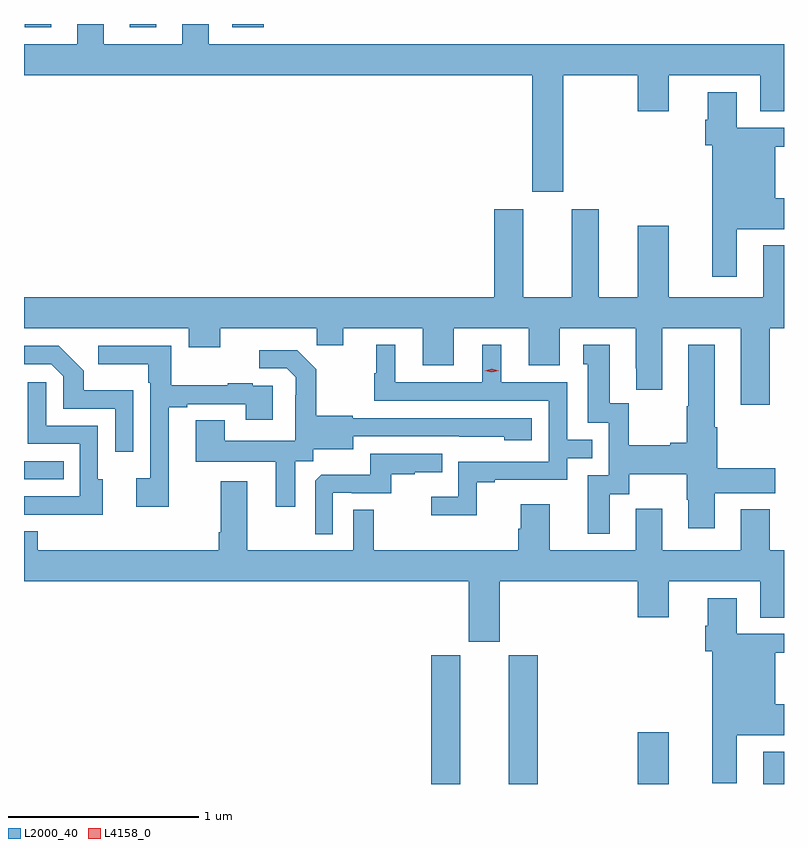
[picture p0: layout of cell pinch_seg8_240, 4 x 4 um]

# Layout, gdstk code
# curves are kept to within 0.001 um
import gdstk
lib = gdstk.Library(unit=1e-6, precision=1e-09)
def R(c, l, rs):  # rectangles x0, y0, x1, y1
    for r in rs: c.add(gdstk.rectangle(r[:2], r[2:], *l))
def P(c, l, *ps):  # polygons
    for p in ps: c.add(gdstk.Polygon(p, *l))
L2000_40 = (2000, 40)
L4158_0 = (4158, 0)

pinch_seg8_240 = lib.new_cell('pinch_seg8_240')
R(pinch_seg8_240, L2000_40, [(787.298,1103.446,787.45,1104.123), (787.706,1103.446,787.859,1104.123), (788.384,1103.446,788.548,1103.719), (789.047,1103.446,789.155,1103.617), (785.155,1105.05,785.363,1105.146), (785.159,1107.429,785.299,1107.446), (785.711,1107.429,785.851,1107.446), (786.251,1107.429,786.416,1107.446)])
P(pinch_seg8_240, L2000_40, [(787.993,1107.176),(788.384,1107.176),(788.384,1106.988),(788.548,1106.988),(788.548,1107.176),(789.029,1107.176),(789.029,1106.986),(789.155,1106.986),(789.155,1107.34),(786.127,1107.34),(786.127,1107.446),(785.987,1107.446),(785.987,1107.34),(785.575,1107.34),(785.575,1107.446),(785.435,1107.446),(785.435,1107.34),(785.155,1107.34),(785.155,1107.176),(787.829,1107.176),(787.829,1106.562),(787.993,1106.562)],
  [(788.905,1106.366),(789.155,1106.366),(789.155,1106.53),(789.109,1106.53),(789.109,1106.8),(789.155,1106.8),(789.155,1106.901),(788.905,1106.901),(788.905,1107.088),(788.753,1107.088),(788.753,1106.942),(788.741,1106.942),(788.741,1106.808),(788.777,1106.808),(788.777,1106.115),(788.905,1106.115)],
  [(789.08,1105.844),(789.155,1105.844),(789.155,1106.281),(789.047,1106.281),(789.047,1106.008),(788.548,1106.008),(788.548,1106.383),(788.384,1106.383),(788.384,1106.008),(788.179,1106.008),(788.179,1106.47),(788.039,1106.47),(788.039,1106.008),(787.783,1106.008),(787.783,1106.47),(787.631,1106.47),(787.631,1106.008),(785.155,1106.008),(785.155,1105.844),(786.023,1105.844),(786.023,1105.745),(786.187,1105.745),(786.187,1105.844),(786.697,1105.844),(786.697,1105.754),(786.835,1105.754),(786.835,1105.844),(787.253,1105.844),(787.253,1105.65),(787.417,1105.65),(787.417,1105.844),(787.811,1105.844),(787.811,1105.65),(787.975,1105.65),(787.975,1105.844),(788.375,1105.844),(788.375,1105.633),(788.378,1105.633),(788.378,1105.521),(788.515,1105.521),(788.515,1105.844),(788.927,1105.844),(788.927,1105.443),(789.08,1105.443)],
  [(788.239,1104.97),(788.341,1104.97),(788.341,1105.076),(788.644,1105.076),(788.644,1104.942),(788.651,1104.942),(788.651,1104.792),(788.791,1104.792),(788.791,1104.977),(789.109,1104.977),(789.109,1105.107),(788.804,1105.107),(788.804,1105.324),(788.791,1105.324),(788.791,1105.759),(788.651,1105.759),(788.651,1105.433),(788.644,1105.433),(788.644,1105.241),(788.555,1105.241),(788.555,1105.228),(788.337,1105.228),(788.337,1105.451),(788.239,1105.451),(788.239,1105.759),(788.099,1105.759),(788.099,1105.656),(788.123,1105.656),(788.123,1105.347),(788.232,1105.347),(788.232,1105.071),(788.123,1105.071),(788.123,1104.762),(788.239,1104.762)],
  [(787.539,1105.035),(787.633,1105.035),(787.633,1105.047),(788.013,1105.047),(788.013,1105.161),(788.147,1105.161),(788.147,1105.257),(788.013,1105.257),(788.013,1105.56),(787.666,1105.56),(787.666,1105.759),(787.568,1105.759),(787.568,1105.56),(787.108,1105.56),(787.108,1105.759),(787.01,1105.759),(787.01,1105.608),(786.999,1105.608),(786.999,1105.464),(787.917,1105.464),(787.917,1105.143),(787.44,1105.143),(787.44,1104.958),(787.299,1104.958),(787.299,1104.86),(787.539,1104.86)],
  [(785.917,1105.428),(786.013,1105.428),(786.013,1105.446),(786.323,1105.446),(786.323,1105.362),(786.463,1105.362),(786.463,1105.542),(786.359,1105.542),(786.359,1105.555),(786.227,1105.555),(786.227,1105.544),(785.929,1105.544),(785.929,1105.752),(785.547,1105.752),(785.547,1105.655),(785.808,1105.655),(785.808,1105.559),(785.82,1105.559),(785.82,1105.054),(785.745,1105.054),(785.745,1104.906),(785.917,1104.906)],
  [(785.73,1105.519),(785.469,1105.519),(785.469,1105.622),(785.338,1105.752),(785.155,1105.752),(785.155,1105.656),(785.298,1105.656),(785.361,1105.593),(785.361,1105.422),(785.634,1105.422),(785.634,1105.194),(785.73,1105.194)],
  [(786.583,1105.144),(786.678,1105.144),(786.678,1105.208),(786.889,1105.208),(786.889,1105.275),(787.683,1105.274),(787.683,1105.256),(787.828,1105.256),(787.828,1105.371),(786.885,1105.371),(786.885,1105.384),(786.693,1105.384),(786.693,1105.629),(786.593,1105.729),(786.393,1105.729),(786.393,1105.635),(786.537,1105.635),(786.584,1105.588),(786.584,1105.493),(786.582,1105.493),(786.582,1105.252),(786.211,1105.252),(786.211,1105.361),(786.059,1105.361),(786.059,1105.142),(786.479,1105.142),(786.479,1104.906),(786.583,1104.906)],
  [(785.569,1105.05),(785.544,1105.05),(785.544,1105.332),(785.271,1105.332),(785.271,1105.561),(785.175,1105.561),(785.175,1105.236),(785.448,1105.236),(785.448,1104.96),(785.155,1104.96),(785.155,1104.864),(785.351,1104.864),(785.351,1104.863),(785.569,1104.863)],
  [(786.78,1104.978),(786.88,1104.978),(786.88,1104.975),(787.088,1104.975),(787.088,1105.077),(787.211,1105.077),(787.211,1105.088),(787.355,1105.088),(787.355,1105.185),(786.978,1105.185),(786.978,1105.073),(786.719,1105.073),(786.687,1105.041),(786.687,1104.761),(786.78,1104.761)],
  [(788.927,1104.892),(788.927,1104.676),(788.515,1104.676),(788.515,1104.895),(788.375,1104.895),(788.375,1104.676),(787.921,1104.676),(787.921,1104.919),(787.769,1104.919),(787.769,1104.789),(787.757,1104.789),(787.757,1104.676),(786.997,1104.676),(786.997,1104.89),(786.888,1104.89),(786.888,1104.676),(786.331,1104.676),(786.331,1105.039),(786.191,1105.039),(786.191,1104.772),(786.179,1104.772),(786.179,1104.676),(785.227,1104.676),(785.227,1104.775),(785.155,1104.775),(785.155,1104.512),(787.496,1104.512),(787.496,1104.195),(787.66,1104.195),(787.66,1104.512),(788.384,1104.512),(788.384,1104.324),(788.548,1104.324),(788.548,1104.512),(789.029,1104.512),(789.029,1104.322),(789.155,1104.322),(789.155,1104.676),(789.08,1104.676),(789.08,1104.892)],
  [(788.905,1103.702),(789.155,1103.702),(789.155,1103.866),(789.109,1103.866),(789.109,1104.136),(789.155,1104.136),(789.155,1104.237),(788.905,1104.237),(788.905,1104.424),(788.753,1104.424),(788.753,1104.278),(788.741,1104.278),(788.741,1104.144),(788.777,1104.144),(788.777,1103.451),(788.905,1103.451)])
P(pinch_seg8_240, L4158_0, [(787.617,1105.612),(787.581,1105.622),(787.581,1105.622),(787.581,1105.622),(787.617,1105.632),(787.653,1105.622),(787.653,1105.622),(787.653,1105.622)])

lib.write_gds('pinch_seg8_240.gds')
